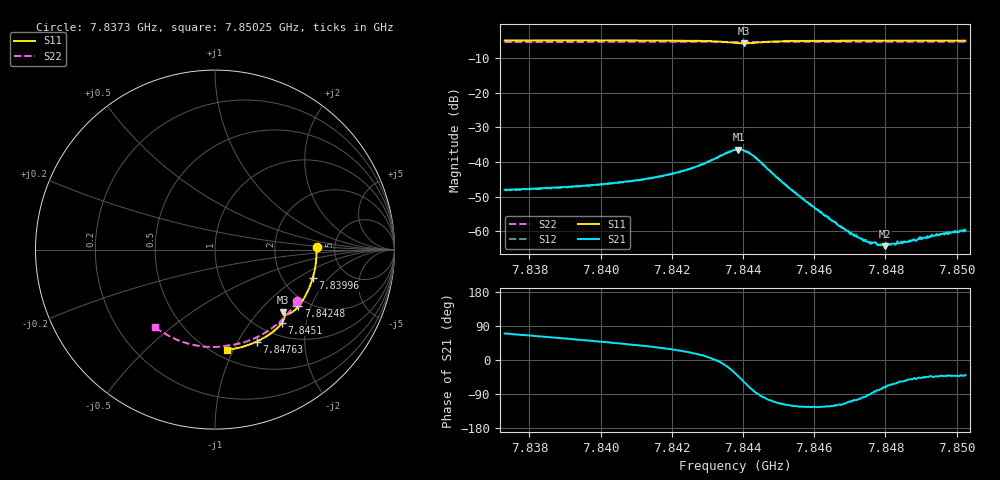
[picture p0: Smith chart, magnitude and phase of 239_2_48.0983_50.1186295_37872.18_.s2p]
#  HZ  S  RI  R  50.00
! Rohde & Schwarz Vector Network Analyzer
! Rohde-Schwarz,ZNB20-2Port,1311601062101988,3.16
! Created: UTC 12/23/2023, 3:58:34 AM
! freq[Hz]  re:S11  im:S11  re:S21  im:S21  re:S12  im:S12  re:S22  im:S22
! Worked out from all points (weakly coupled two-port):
!   401 points, 7.8373 GHz to 7.85025 GHz, reference 50 ohm
!   highest |S21| = -36.43 dB at 7.84387 GHz (marker M1); lowest = -64.3 dB at 7.84798 GHz (marker M2)
!   lowest |S11| = -5.8 dB at 7.84403 GHz (marker M3), VSWR 3.12, Z = 72.3 - j68.7 ohm
!   |S11| at or under -10 dB: nowhere
!   |S22| runs from -5.4 to -5.3 dB; largest |S21 - S12| = 0.0004
!   S11 on the Smith chart (normalised r, x): 7.8373 GHz: 3.60, +0.17; 7.83996 GHz: 2.91, -1.37; 7.84248 GHz: 1.77, -1.64; 7.8451 GHz: 1.25, -1.46; 7.84763 GHz: 0.80, -1.21; 7.85025 GHz: 0.58, -0.94
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7.837303e9  0.5661 0.0158  0.00137 0.00375  0.00137 0.00368  0.4564 -0.2879
7.839471e9  0.5524 -0.1277  0.00274 0.00362  0.00271 0.00359  0.359 -0.4041
7.839956e9  0.5441 -0.1592  0.00316 0.00357  0.00309 0.00355  0.3329 -0.426
7.840862e9  0.5233 -0.217  0.00405 0.00347  0.00399 0.00351  0.2807 -0.4624
7.841639e9  0.4994 -0.2654  0.00524 0.00333  0.00516 0.00333  0.233 -0.4887
7.84248e9  0.465 -0.3157  0.00742 0.00278  0.00739 0.00277  0.1784 -0.5112
7.843289e9  0.4162 -0.3562  0.0116 -0.00049  0.0117 -0.000399  0.1232 -0.5263
7.843775e9  0.3814 -0.3569  0.0123 -0.00845  0.0122 -0.00836  0.091 -0.5313
7.843872e9  0.3783 -0.3535  0.011 -0.0103  0.011 -0.0102  0.0846 -0.5323
7.844034e9  0.3785 -0.3491  0.00758 -0.0125  0.00771 -0.0124  0.0746 -0.5338
7.844325e9  0.3868 -0.3549  0.00131 -0.0118  0.0013 -0.0119  0.0558 -0.5373
7.845101e9  0.3734 -0.4068  -0.00224 -0.00462  -0.00228 -0.00465  0.00158 -0.5426
7.845943e9  0.3315 -0.451  -0.0013 -0.00192  -0.0013 -0.00193  -0.0578 -0.5405
7.847043e9  0.2688 -0.4941  -0.000287 -0.000882  -0.000336 -0.000902  -0.1342 -0.5274
7.847431e9  0.2454 -0.5064  -9.2e-05 -0.000752  -8.62e-05 -0.000726  -0.1604 -0.5206
7.847625e9  0.2336 -0.5121  4.08e-05 -0.000679  1.67e-05 -0.000678  -0.1734 -0.5165
7.847852e9  0.2197 -0.5183  0.000146 -0.00063  0.00013 -0.000612  -0.1885 -0.5112
7.847981e9  0.2116 -0.5217  0.000189 -0.000582  0.000165 -0.000652  -0.1971 -0.5081
7.848111e9  0.2036 -0.525  0.000253 -0.000592  0.000278 -0.000602  -0.2056 -0.5046
7.848629e9  0.1708 -0.5365  0.000438 -0.000556  0.000425 -0.000608  -0.2387 -0.4903
7.849632e9  0.1059 -0.5526  0.000689 -0.000621  0.000695 -0.000629  -0.3002 -0.4561
7.850247e9  0.0655 -0.5587  0.000801 -0.000664  0.000759 -0.000728  -0.3353 -0.4311
